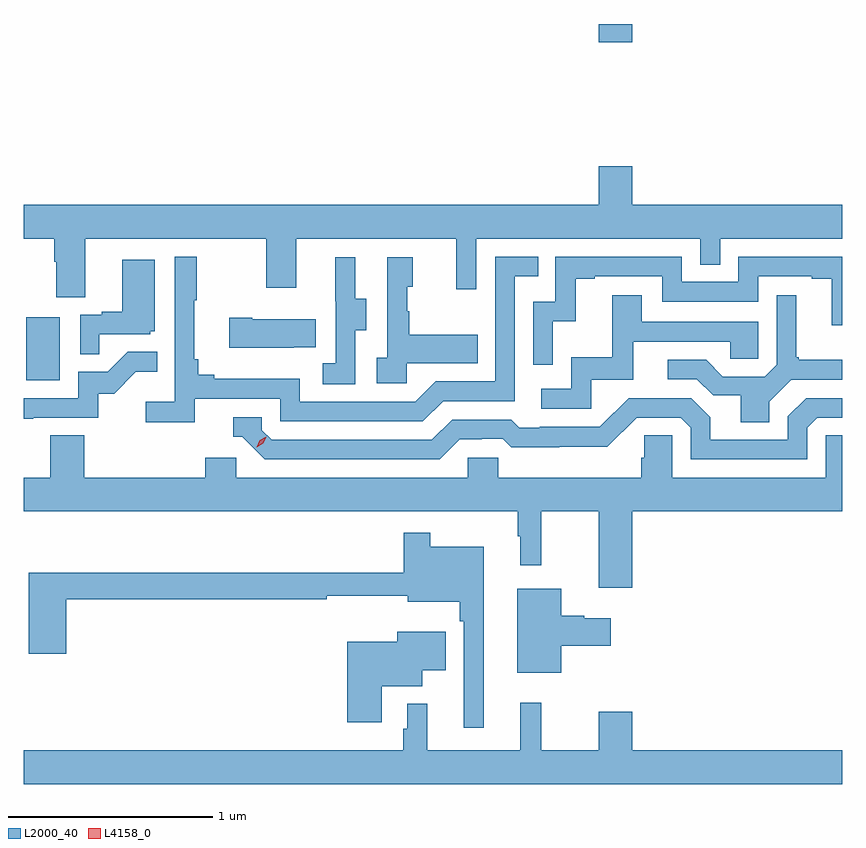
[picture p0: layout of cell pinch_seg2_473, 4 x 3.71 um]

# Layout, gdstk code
import gdstk
lib = gdstk.Library(unit=1e-6, precision=1e-09)
def R(c, l, rs):  # rectangles x0, y0, x1, y1
    for r in rs: c.add(gdstk.rectangle(r[:2], r[2:], *l))
def P(c, l, *ps):  # polygons
    for p in ps: c.add(gdstk.Polygon(p, *l))
L2000_40 = (2000, 40)
L4158_0 = (4158, 0)

pinch_seg2_473 = lib.new_cell('pinch_seg2_473')
R(pinch_seg2_473, L2000_40, [(941.432,600.324,941.596,600.631), (944.228,601.974,944.392,602.064)])
P(pinch_seg2_473, L2000_40, [(941.719,601.016),(942.604,601.016),(942.604,600.777),(942.751,600.777),(942.751,601.016),(943.532,601.016),(943.532,600.768),(943.629,600.768),(943.629,601.016),(944.724,601.016),(944.724,600.889),(944.82,600.889),(944.82,601.016),(945.418,601.016),(945.418,601.18),(944.392,601.18),(944.392,601.369),(944.228,601.369),(944.228,601.18),(941.418,601.18),(941.418,601.016),(941.567,601.016),(941.567,600.904),(941.579,600.904),(941.579,600.73),(941.719,600.73)],
  [(942.254,600.234),(942.672,600.234),(942.672,600.123),(943.369,600.123),(943.468,600.222),(943.818,600.222),(943.818,600.831),(943.931,600.831),(943.931,600.927),(943.722,600.927),(943.722,600.318),(943.431,600.318),(943.332,600.219),(942.768,600.219),(942.768,600.331),(942.349,600.331),(942.349,600.35),(942.272,600.35),(942.272,600.427),(942.253,600.427),(942.253,600.715),(942.265,600.715),(942.265,600.928),(942.156,600.928),(942.156,600.22),(942.015,600.22),(942.015,600.118),(942.254,600.118)],
  [(944.004,600.611),(944.114,600.611),(944.114,600.819),(944.209,600.819),(944.209,600.831),(944.538,600.831),(944.538,600.708),(945.006,600.708),(945.006,600.831),(945.269,600.831),(945.269,600.819),(945.365,600.819),(945.365,600.593),(945.418,600.593),(945.418,600.927),(944.91,600.927),(944.91,600.804),(944.634,600.804),(944.634,600.927),(944.016,600.927),(944.016,600.708),(943.908,600.708),(943.908,600.399),(944.004,600.399)],
  [(943.29,600.407),(943.637,600.407),(943.637,600.547),(943.303,600.547),(943.303,600.662),(943.293,600.662),(943.293,600.78),(943.318,600.78),(943.318,600.925),(943.194,600.925),(943.194,600.434),(943.143,600.434),(943.143,600.309),(943.29,600.309)],
  [(943.038,600.568),(943.093,600.568),(943.093,600.723),(943.039,600.723),(943.039,600.925),(942.941,600.925),(942.941,600.711),(942.942,600.711),(942.942,600.407),(942.879,600.407),(942.879,600.304),(943.038,600.304)],
  [(941.789,600.549),(942.036,600.549),(942.036,600.564),(942.058,600.564),(942.058,600.913),(941.9,600.913),(941.9,600.658),(941.801,600.658),(941.801,600.645),(941.694,600.645),(941.694,600.451),(941.789,600.451)],
  [(944.19,600.327),(944.395,600.327),(944.395,600.513),(944.869,600.513),(944.869,600.429),(945.006,600.429),(945.006,600.609),(944.437,600.609),(944.437,600.739),(944.293,600.739),(944.293,600.436),(944.094,600.436),(944.094,600.282),(943.947,600.282),(943.947,600.186),(944.19,600.186)],
  [(945.061,600.22),(945.168,600.327),(945.418,600.327),(945.418,600.424),(945.205,600.424),(945.205,600.436),(945.193,600.436),(945.193,600.739),(945.096,600.739),(945.096,600.399),(945.039,600.342),(944.833,600.342),(944.752,600.423),(944.565,600.423),(944.565,600.33),(944.706,600.33),(944.786,600.25),(944.921,600.25),(944.921,600.118),(945.061,600.118)],
  [(942.737,600.485),(942.845,600.485),(942.845,600.622),(942.535,600.622),(942.535,600.63),(942.423,600.63),(942.423,600.482),(942.737,600.482)],
  [(941.465,600.141),(941.784,600.141),(941.784,600.258),(941.86,600.258),(941.967,600.365),(942.071,600.365),(942.071,600.464),(941.927,600.464),(941.829,600.366),(941.685,600.366),(941.685,600.237),(941.418,600.237),(941.418,600.136),(941.465,600.136)],
  [(943.549,600.036),(943.656,600.036),(943.656,600.039),(943.759,600.039),(943.801,599.997),(944.034,599.997),(944.034,599.999),(944.27,599.999),(944.412,600.141),(944.628,600.141),(944.676,600.093),(944.676,599.937),(945.246,599.937),(945.246,600.093),(945.294,600.141),(945.418,600.141),(945.418,600.237),(945.24,600.237),(945.15,600.147),(945.15,600.033),(944.773,600.033),(944.773,600.143),(944.679,600.237),(944.373,600.237),(944.232,600.096),(943.939,600.096),(943.939,600.093),(943.84,600.093),(943.801,600.132),(943.512,600.132),(943.413,600.033),(942.63,600.033),(942.582,600.081),(942.582,600.144),(942.443,600.144),(942.443,600.048),(942.486,600.048),(942.597,599.937),(943.45,599.937)],
  [(944.392,599.684),(945.418,599.684),(945.418,600.056),(945.336,600.056),(945.336,599.848),(944.586,599.848),(944.586,600.056),(944.449,600.056),(944.449,599.946),(944.435,599.946),(944.435,599.848),(943.737,599.848),(943.737,599.946),(943.587,599.946),(943.587,599.848),(942.456,599.848),(942.456,599.946),(942.305,599.946),(942.305,599.848),(941.714,599.848),(941.714,600.056),(941.549,600.056),(941.549,599.848),(941.418,599.848),(941.418,599.684),(943.833,599.684),(943.833,599.561),(943.844,599.561),(943.844,599.421),(943.946,599.421),(943.946,599.684),(944.228,599.684),(944.228,599.31),(944.392,599.31)],
  [(943.666,599.512),(943.405,599.512),(943.405,599.578),(943.276,599.578),(943.276,599.383),(941.444,599.383),(941.444,598.989),(941.627,598.989),(941.627,599.254),(942.899,599.254),(942.899,599.272),(943.295,599.272),(943.295,599.243),(943.549,599.243),(943.549,599.147),(943.569,599.147),(943.569,598.626),(943.666,598.626)],
  [(944.044,599.027),(944.287,599.027),(944.287,599.161),(944.157,599.161),(944.157,599.174),(944.044,599.174),(944.044,599.305),(943.829,599.305),(943.829,598.895),(944.044,598.895)],
  [(943.168,598.829),(943.366,598.829),(943.366,598.907),(943.48,598.907),(943.48,599.095),(943.244,599.095),(943.244,599.047),(942.998,599.047),(942.998,598.653),(943.168,598.653)],
  [(944.228,598.705),(944.228,598.516),(943.946,598.516),(943.946,598.75),(943.844,598.75),(943.844,598.516),(943.391,598.516),(943.391,598.744),(943.293,598.744),(943.293,598.623),(943.273,598.623),(943.273,598.516),(941.418,598.516),(941.418,598.352),(945.418,598.352),(945.418,598.516),(944.392,598.516),(944.392,598.705)])
P(pinch_seg2_473, L4158_0, [(942.556,599.997),(942.556,599.997),(942.573,600.03),(942.604,600.049),(942.604,600.049),(942.604,600.049),(942.588,600.016),(942.557,599.997)])

lib.write_gds('pinch_seg2_473.gds')
